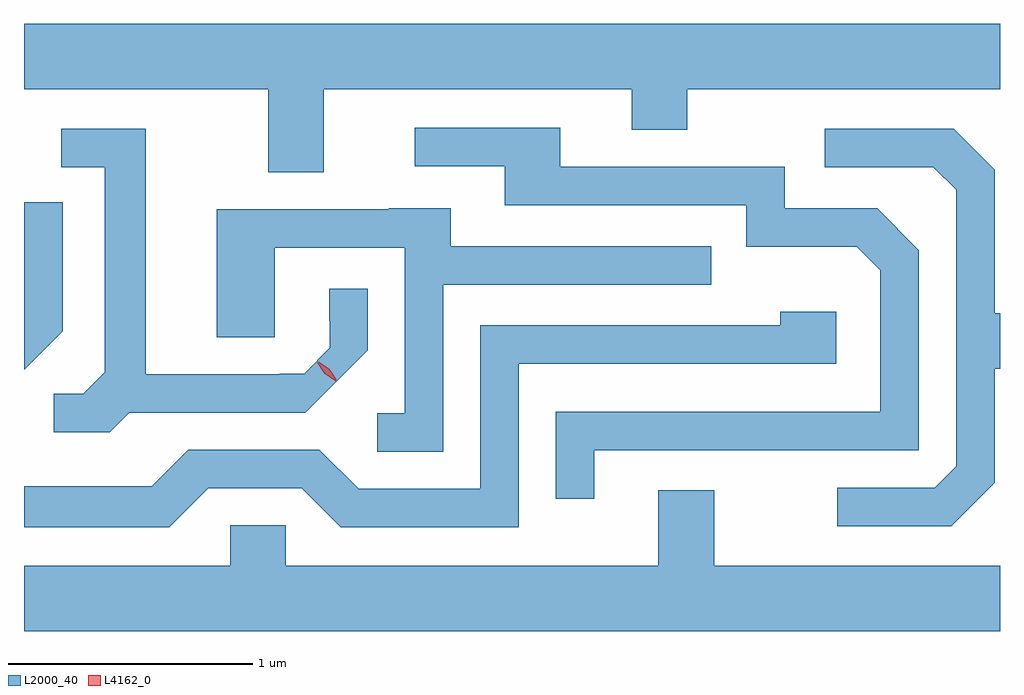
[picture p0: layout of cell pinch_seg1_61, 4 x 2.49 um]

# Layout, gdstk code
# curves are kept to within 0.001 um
import gdstk
lib = gdstk.Library(unit=1e-6, precision=1e-09)
def P(c, l, *ps):  # polygons
    for p in ps: c.add(gdstk.Polygon(p, *l))
L2000_40 = (2000, 40)
L4162_0 = (4162, 0)

pinch_seg1_61 = lib.new_cell('pinch_seg1_61')
P(pinch_seg1_61, L2000_40, [(1028.009,850.736),(1029.271,850.736),(1029.271,850.571),(1029.499,850.571),(1029.499,850.736),(1030.781,850.736),(1030.781,851.004),(1026.781,851.004),(1026.781,850.736),(1027.781,850.736),(1027.781,850.396),(1028.009,850.396)],
  [(1029.119,849.256),(1030.449,849.256),(1030.449,850.077),(1030.277,850.249),(1029.899,850.249),(1029.899,850.419),(1028.979,850.419),(1028.979,850.579),(1028.382,850.579),(1028.382,850.421),(1028.751,850.421),(1028.751,850.261),(1029.741,850.261),(1029.741,850.091),(1030.194,850.091),(1030.291,849.994),(1030.291,849.414),(1028.961,849.414),(1028.961,849.058),(1029.119,849.058)],
  [(1027.212,849.411),(1027.934,849.411),(1028.189,849.667),(1028.189,849.918),(1028.031,849.918),(1028.031,849.788),(1028.035,849.788),(1028.035,849.676),(1027.93,849.57),(1027.279,849.569),(1027.279,850.574),(1026.933,850.574),(1026.933,850.416),(1027.111,850.416),(1027.111,849.577),(1027.024,849.489),(1026.902,849.489),(1026.902,849.331),(1027.132,849.331)],
  [(1030.759,849.124),(1030.759,849.591),(1030.781,849.591),(1030.781,849.819),(1030.759,849.819),(1030.759,850.407),(1030.592,850.574),(1030.063,850.574),(1030.063,850.416),(1030.508,850.416),(1030.601,850.324),(1030.601,849.192),(1030.514,849.104),(1030.113,849.104),(1030.113,848.946),(1030.582,848.946)],
  [(1026.939,849.744),(1026.939,850.273),(1026.781,850.273),(1026.781,849.586)],
  [(1028.499,849.936),(1029.598,849.936),(1029.598,850.094),(1028.529,850.094),(1028.529,850.249),(1028.275,850.249),(1028.275,850.244),(1027.571,850.244),(1027.571,849.721),(1027.809,849.721),(1027.809,850.086),(1028.341,850.086),(1028.341,849.409),(1028.228,849.409),(1028.228,849.251),(1028.499,849.251)],
  [(1027.536,849.101),(1027.919,849.101),(1028.079,848.941),(1028.809,848.941),(1028.809,849.611),(1030.109,849.611),(1030.109,849.824),(1029.881,849.824),(1029.881,849.769),(1028.651,849.769),(1028.651,849.099),(1028.152,849.099),(1027.992,849.259),(1027.454,849.259),(1027.304,849.109),(1026.781,849.109),(1026.781,848.941),(1027.377,848.941)],
  [(1030.781,848.784),(1029.609,848.784),(1029.609,849.094),(1029.381,849.094),(1029.381,848.784),(1027.854,848.784),(1027.854,848.949),(1027.626,848.949),(1027.626,848.784),(1026.781,848.784),(1026.781,848.516),(1030.781,848.516)])
P(pinch_seg1_61, L4162_0, [(1028.059,849.539),(1028.012,849.572),(1027.98,849.619),(1027.98,849.619),(1027.98,849.619),(1028.027,849.586),(1028.06,849.54),(1028.06,849.539)],
  [(1028.059,849.546),(1028.016,849.576),(1027.987,849.62),(1027.987,849.62),(1027.988,849.62),(1028.031,849.59),(1028.06,849.547),(1028.06,849.546)])

lib.write_gds('pinch_seg1_61.gds')
